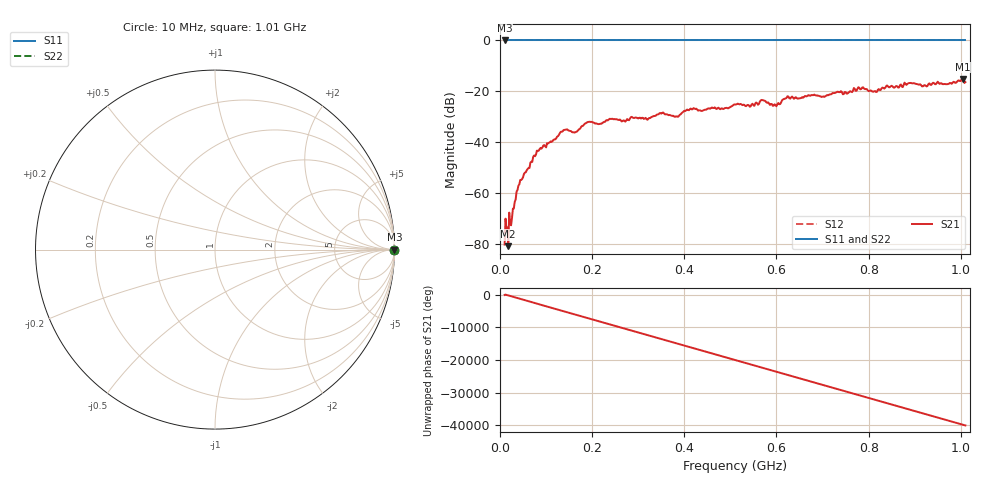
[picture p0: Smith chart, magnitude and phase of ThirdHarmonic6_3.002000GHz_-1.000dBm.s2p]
! 8/17/2025 8:35:18 AM
! C:\ANRITSUVNA\TEMP\TEMP.S2P
! CHANNEL.1
! TR.MEASUREMENT
! RAW.DATA
! RF.CORRECTION.OFF
! AVERAGING.OFF
! IF.BANDWIDTH: 5KHZ
! SWEEPTYPE:  FREQ.SWEEP(Linear)
! Reference Plane Port Info
! PORT:  PORT1  PORT2
! DISTANCE:  0  m  0  m
! TIME:  0  s  0  s
! PHASE.OFFSET:  0  deg.  0  deg.
! LOSS:  0  dB  0  dB
! REF.LOSS:  0  dB  0  dB
! REF.FREQ:  0  Hz  0  Hz
! Power Info
! POWER:  -20  dBm  -20  dBm
! EFF.POWER:  -20  dBm  -20  dBm
! SOURCE.ATTEN:  0  dB  0  dB
! TEST.ATTEN:  0  dB  0  dB
# GHZ S RI R 50.0
! FREQ.GHZ  S11RE  S11IM  S21RE  S21IM  S12RE  S12IM  S22RE  S22IM
!; PortSelection: Port_12
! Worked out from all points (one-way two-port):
!   501 points, 10 MHz to 1.01 GHz, reference 50 ohm
!   highest |S21| = -15.12 dB at 1.004 GHz (marker M1); lowest = -80.9 dB at 18 MHz (marker M2)
!   lowest |S11| = 0.0 dB at 10 MHz (marker M3)
!   |S11| at or under -10 dB: nowhere
!   |S22| runs from 0.0 to 0.0 dB; largest |S21 - S12| = 1.2
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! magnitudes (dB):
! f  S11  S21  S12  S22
! 10 MHz  0.0  -80.2  0.0  0.0
! 18 MHz  0.0  -80.9  0.0  0.0
! 22 MHz  0.0  -71.6  0.0  0.0
! 40 MHz  0.0  -57.1  0.0  0.0
! 76 MHz  0.0  -45.5  0.0  0.0
! 136 MHz  0.0  -35.7  0.0  0.0
! 162 MHz  0.0  -36.2  0.0  0.0
! 178 MHz  0.0  -33.6  0.0  0.0
! 194 MHz  0.0  -32.0  0.0  0.0
! 344 MHz  0.0  -29.0  0.0  0.0
! 384 MHz  0.0  -29.9  0.0  0.0
! 416 MHz  0.0  -27.1  0.0  0.0
! 510 MHz  0.0  -25.2  0.0  0.0
! 570 MHz  0.0  -23.4  0.0  0.0
! 596 MHz  0.0  -25.1  0.0  0.0
! 622 MHz  0.0  -22.5  0.0  0.0
! 678 MHz  0.0  -21.5  0.0  0.0
! 782 MHz  0.0  -19.2  0.0  0.0
! 814 MHz  0.0  -19.9  0.0  0.0
! 844 MHz  0.0  -18.4  0.0  0.0
! 1.004 GHz  0.0  -15.1  0.0  0.0
! 1.01 GHz  0.0  -16.4  0.0  0.0
